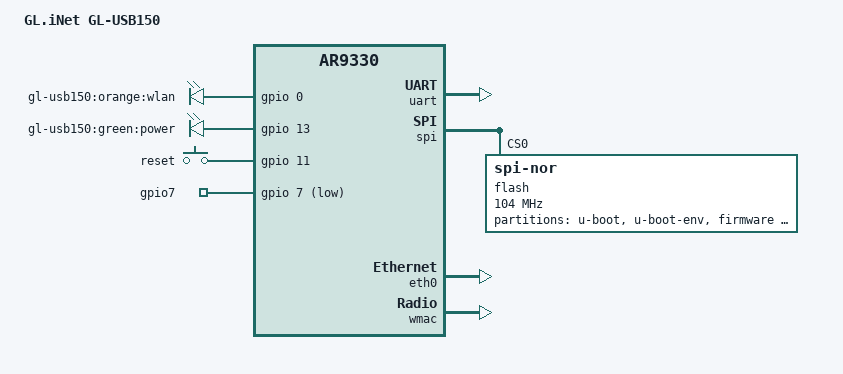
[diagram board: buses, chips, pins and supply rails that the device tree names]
// SPDX-License-Identifier: GPL-2.0-or-later OR MIT
/dts-v1/;

#include <dt-bindings/gpio/gpio.h>
#include <dt-bindings/input/input.h>

#include "ar9330.dtsi"

/ {
	model = "GL.iNet GL-USB150";
	compatible = "glinet,gl-usb150", "qca,ar9330";

	aliases {
		serial0 = &uart;
		led-boot = &led_power;
		led-failsafe = &led_power;
		led-running = &led_power;
		led-upgrade = &led_power;
	};

	leds {
		compatible = "gpio-leds";

		wlan {
			label = "gl-usb150:orange:wlan";
			gpios = <&gpio 0 GPIO_ACTIVE_HIGH>;
			linux,default-trigger = "phy0tpt";
		};

		led_power: power {
			label = "gl-usb150:green:power";
			gpios = <&gpio 13 GPIO_ACTIVE_HIGH>;
			default-state = "on";
		};
	};

	keys {
		compatible = "gpio-keys-polled";
		poll-interval = <100>;

		reset {
			label = "reset";
			linux,code = <KEY_RESTART>;
			gpios = <&gpio 11 GPIO_ACTIVE_HIGH>;
		};
	};
    gpio-export {
        compatible = "gpio-export";
        gpio_usb_power {
            gpio-export,name = "gpio7";
            gpio-export,output = <0>;
            gpios = <&gpio 7 GPIO_ACTIVE_LOW>;
        };
    };
};

&uart {
	status = "okay";
};

&spi {
	num-chipselects = <1>;
	status = "okay";

	flash@0 {
		compatible = "jedec,spi-nor";
		spi-max-frequency = <104000000>;
		reg = <0>;

		partitions {
			compatible = "fixed-partitions";
			#address-cells = <1>;
			#size-cells = <1>;

			partition@0 {
				label = "u-boot";
				reg = <0x000000 0x040000>;
				read-only;
			};

			partition@1 {
				label = "u-boot-env";
				reg = <0x040000 0x010000>;
			};

			partition@2 {
				compatible = "denx,uimage";
				label = "firmware";
				reg = <0x050000 0xfa0000>;
			};

			art: partition@3 {
				label = "art";
				reg = <0xff0000 0x010000>;
				read-only;
			};
		};
	};
};

&eth0 {
	status = "okay";

	mtd-mac-address = <&art 0x0>;

	gmac-config {
		device = <&gmac>;

		switch-phy-addr-swap = <0>;
		switch-phy-swap = <0>;
	};
};

&eth1 {
	status = "okay";
	compatible = "syscon", "simple-mfd";
};

&wmac {
	status = "okay";
	mtd-cal-data = <&art 0x1000>;
	mtd-mac-address = <&art 0x0>;
};
